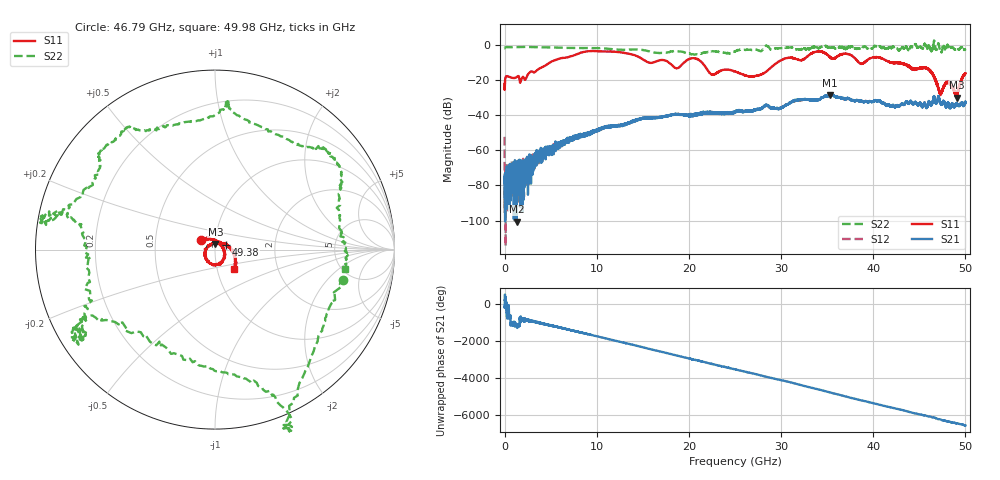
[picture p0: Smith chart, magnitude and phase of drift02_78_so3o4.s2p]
!Created with skrf (http://scikit-rf.org).
# Hz S RI R 50.0
!freq ReS11 ImS11 ReS21 ImS21 ReS12 ImS12 ReS22 ImS22
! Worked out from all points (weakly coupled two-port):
!   10001 points, 300 kHz to 50 GHz, reference 50 ohm
!   highest |S21| = -28.55 dB at 35.32 GHz (marker M1); lowest = -100.6 dB at 1.295 GHz (marker M2)
!   lowest |S11| = -30.1 dB at 49.08 GHz (marker M3), VSWR 1.06, Z = 50.1 + j3.14 ohm
!   |S11| at or under -10 dB: start of sweep to 4.956 GHz; 21.38 GHz to 29.62 GHz (8.238 GHz wide, 32.3 % of centre); 41.84 GHz to end of sweep (the widest 3 of 13)
!   |S22| runs from -5.7 to 2.4 dB; largest |S21 - S12| = 0.0036
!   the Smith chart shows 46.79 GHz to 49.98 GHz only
!   S11 on the Smith chart (normalised r, x): 46.79 GHz: 0.85, +0.09; 49.38 GHz: 1.13, +0.06; 49.98 GHz: 1.21, -0.27
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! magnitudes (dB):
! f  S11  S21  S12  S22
! 300 kHz  -22.3  -86.7  -52.4  -2.1
! 255.3 MHz  -17.9  -69.3  -82.4  -1.4
! 1.295 GHz  -18.5  -100.6  -73.9  -1.4
! 8.335 GHz  -4.5  -51.6  -51.4  -1.9
! 16.67 GHz  -9.1  -41.6  -41.4  -4.7
! 18.7 GHz  -13.4  -39.7  -39.6  -3.7
! 20.6 GHz  -7.7  -40.1  -39.9  -5.7
! 22.51 GHz  -17.1  -38.5  -38.7  -3.7
! 25 GHz  -15.3  -38.3  -38.1  -3.9
! 27.5 GHz  -17.5  -36.6  -36.8  -3.2
! 30.22 GHz  -8.3  -35.4  -35.2  -2.1
! 33.34 GHz  -4.9  -31.2  -31.2  -1.6
! 35.32 GHz  -7.2  -28.5  -28.7  -1.3
! 41.67 GHz  -9.6  -34.0  -34.3  -1.9
! 45.79 GHz  -13.6  -36.1  -35.7  -2.3
! 46.79 GHz  -20.4  -33.3  -33.1  -2.7
! 47.28 GHz  -27.5  -33.1  -32.8  -3.3
! 48.1 GHz  -21.6  -33.2  -33.2  -0.4
! 49.08 GHz  -30.1  -33.9  -33.5  -1.7
! 49.38 GHz  -23.3  -34.0  -33.9  -2.6
! 49.98 GHz  -16.4  -32.7  -33.0  -2.7
! 50 GHz  -16.2  -33.2  -32.9  -2.7
